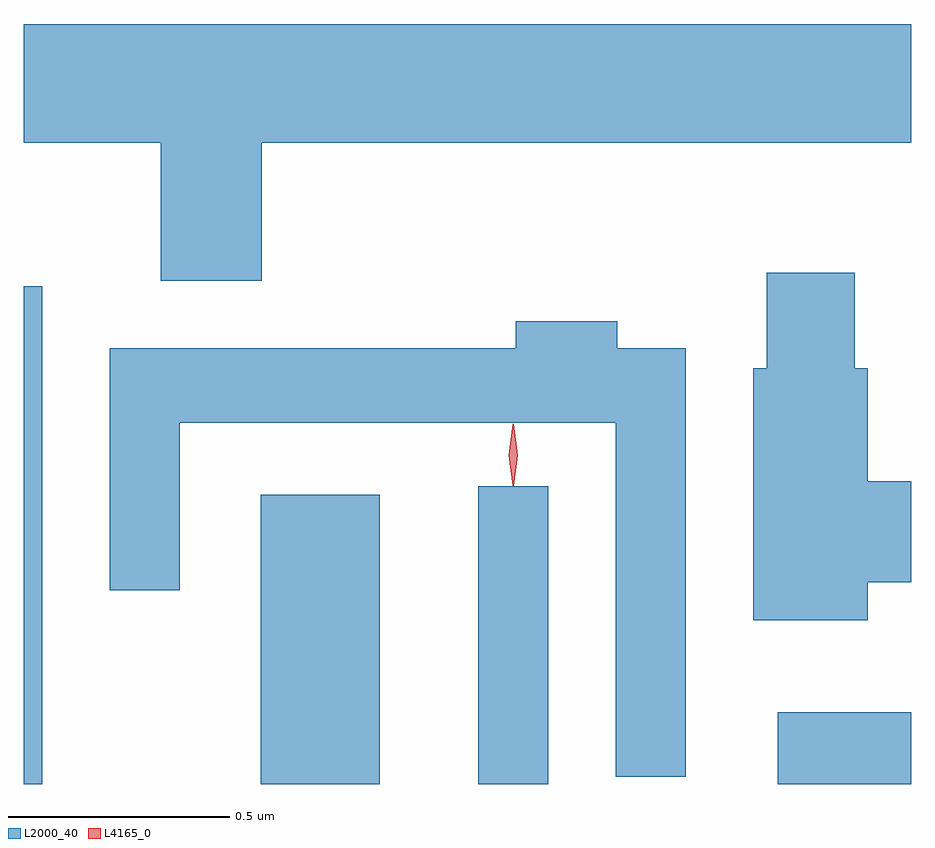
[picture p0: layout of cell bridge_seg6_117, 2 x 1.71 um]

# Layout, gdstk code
import gdstk
lib = gdstk.Library(unit=1e-6, precision=1e-09)
def R(c, l, rs):  # rectangles x0, y0, x1, y1
    for r in rs: c.add(gdstk.rectangle(r[:2], r[2:], *l))
def P(c, l, *ps):  # polygons
    for p in ps: c.add(gdstk.Polygon(p, *l))
L2000_40 = (2000, 40)
L4165_0 = (4165, 0)

bridge_seg6_117 = lib.new_cell('bridge_seg6_117')
R(bridge_seg6_117, L2000_40, [(1083.122,1599.652,1083.164,1600.773), (1083.656,1599.652,1083.924,1600.304), (1084.146,1599.652,1084.304,1600.323), (1084.821,1599.652,1085.122,1599.814)])
P(bridge_seg6_117, L2000_40, [(1083.659,1601.096),(1085.122,1601.096),(1085.122,1601.364),(1083.122,1601.364),(1083.122,1601.096),(1083.431,1601.096),(1083.431,1600.786),(1083.659,1600.786)],
  [(1085.024,1600.106),(1085.122,1600.106),(1085.122,1600.334),(1085.024,1600.334),(1085.024,1600.589),(1084.994,1600.589),(1084.994,1600.804),(1084.796,1600.804),(1084.796,1600.589),(1084.766,1600.589),(1084.766,1600.021),(1085.024,1600.021)],
  [(1084.614,1600.634),(1084.459,1600.634),(1084.459,1600.694),(1084.231,1600.694),(1084.231,1600.634),(1083.316,1600.634),(1083.316,1600.088),(1083.474,1600.088),(1083.474,1600.466),(1084.456,1600.466),(1084.456,1599.668),(1084.614,1599.668)])
P(bridge_seg6_117, L4165_0, [(1084.225,1600.323),(1084.224,1600.324),(1084.215,1600.393),(1084.224,1600.462),(1084.225,1600.463),(1084.226,1600.462),(1084.235,1600.393),(1084.226,1600.324)])

lib.write_gds('bridge_seg6_117.gds')
